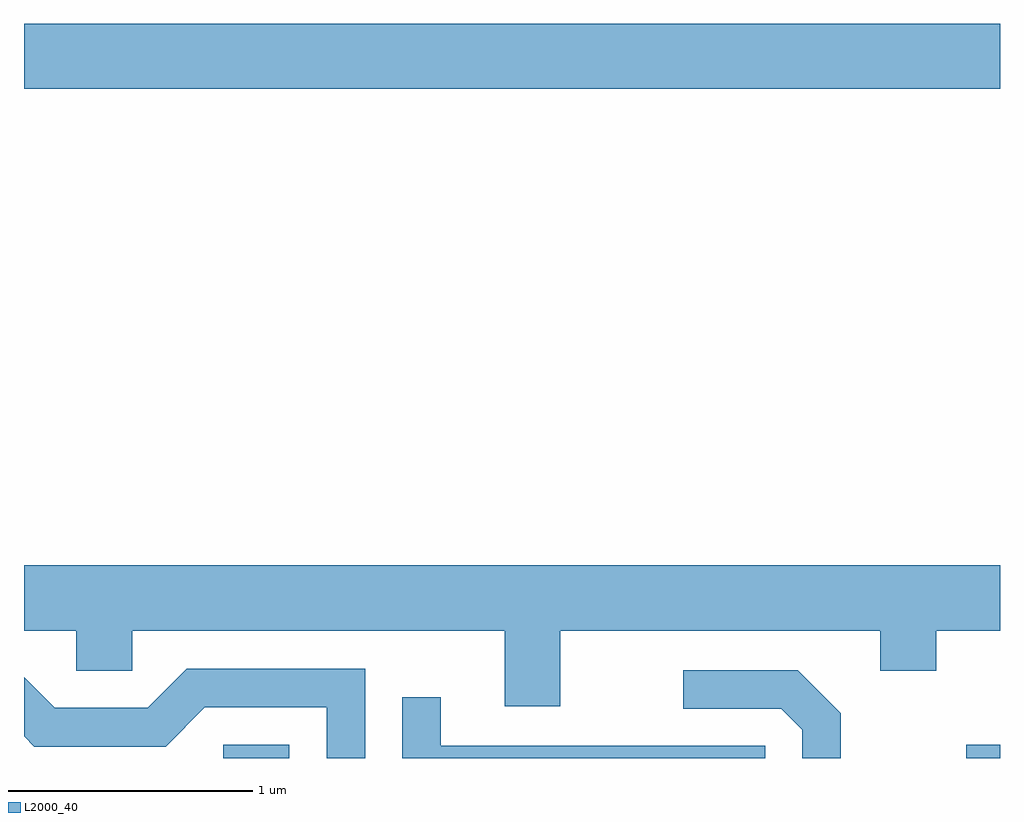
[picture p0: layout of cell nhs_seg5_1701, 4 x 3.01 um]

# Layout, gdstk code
import gdstk
lib = gdstk.Library(unit=1e-6, precision=1e-09)
def R(c, l, rs):  # rectangles x0, y0, x1, y1
    for r in rs: c.add(gdstk.rectangle(r[:2], r[2:], *l))
def P(c, l, *ps):  # polygons
    for p in ps: c.add(gdstk.Polygon(p, *l))
L2000_40 = (2000, 40)

nhs_seg5_1701 = lib.new_cell('nhs_seg5_1701')
R(nhs_seg5_1701, L2000_40, [(236.428,1434.072,236.699,1434.129), (239.473,1434.072,239.611,1434.129), (235.611,1436.816,239.611,1437.084)])
P(nhs_seg5_1701, L2000_40, [(237.809,1434.596),(239.121,1434.596),(239.121,1434.431),(239.349,1434.431),(239.349,1434.596),(239.611,1434.596),(239.611,1434.864),(235.611,1434.864),(235.611,1434.596),(235.826,1434.596),(235.826,1434.431),(236.054,1434.431),(236.054,1434.596),(237.581,1434.596),(237.581,1434.286),(237.809,1434.286)],
  [(237.009,1434.439),(236.279,1434.439),(236.119,1434.279),(235.737,1434.279),(235.611,1434.405),(235.611,1434.164),(235.654,1434.121),(236.192,1434.121),(236.352,1434.281),(236.851,1434.281),(236.851,1434.072),(237.009,1434.072)],
  [(238.959,1434.257),(238.782,1434.434),(238.313,1434.434),(238.313,1434.276),(238.714,1434.276),(238.801,1434.189),(238.801,1434.072),(238.959,1434.072)],
  [(238.649,1434.124),(237.319,1434.124),(237.319,1434.323),(237.161,1434.323),(237.161,1434.072),(238.649,1434.072)])

lib.write_gds('nhs_seg5_1701.gds')
